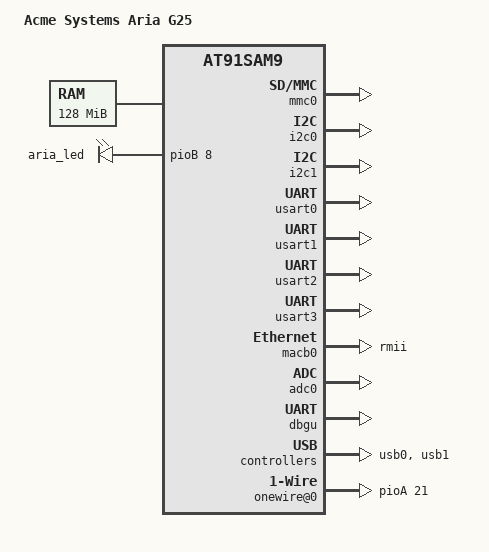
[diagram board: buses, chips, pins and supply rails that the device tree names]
/*
 * acme-aria.dts - Device Tree file for Aria G25
 *
 */
 
/dts-v1/;
#include "at91sam9g25.dtsi"

/ {
	model = "Acme Systems Aria G25";
	compatible = "acme,ariettag25", "atmel,at91sam9x5", "atmel,at91sam9";

	aliases {
		serial0 = &dbgu;
	};

	chosen {
		stdout-path = "serial0:115200n8";
		bootargs = "mem=128M console=ttyS0,115200 root=/dev/mmcblk0p2 rootfstype=ext4 rw rootwait";
	};

	memory {
		reg = <0x20000000 0x8000000>;
	};

	clocks {
		slow_xtal {
			clock-frequency = <32768>;
		};
		main_xtal {
			clock-frequency = <12000000>;
		};
	};

	ahb {
		apb {
			mmc0: mmc@f0008000 {
				pinctrl-0 = <
					&pinctrl_mmc0_slot0_clk_cmd_dat0
					&pinctrl_mmc0_slot0_dat1_3>;
				status = "okay";
				slot@0 {
					reg = <0>;
					bus-width = <4>;
				};
			};

			i2c0: i2c@f8010000 {
				status = "okay";
			};

			i2c1: i2c@f8014000 {
				status = "okay";
			};

			usart0: serial@f801c000 {
				pinctrl-0 = <&pinctrl_usart0
					     &pinctrl_usart0_rts
					     &pinctrl_usart0_cts>;
				status = "okay";
			};

			usart1: serial@f8020000 {
				pinctrl-0 = <&pinctrl_usart1>;
				status = "okay";
			};

			usart2: serial@f8024000 {
				pinctrl-0 = <&pinctrl_usart2>;
				status = "okay";
			};

			usart3: serial@f8028000 {
				compatible = "atmel,at91sam9260-usart";
				reg = <0xf8028000 0x200>;
				interrupts = <8 4 5>;
				pinctrl-names = "default";
				pinctrl-0 = <&pinctrl_usart3>;
				status = "okay";
			};

			macb0: ethernet@f802c000 {
				phy-mode = "rmii";
				local-mac-address = [00 00 00 00 00 00];
				status = "okay";
			};

			uart0: serial@f8040000 {
				status = "disabled";
			};

			uart1: serial@f8044000 {
				status = "disabled";
			};

			adc0: adc@f804c000 {
				status = "okay";
				atmel,adc-channels-used = <0xf>;
			};

			dbgu: serial@fffff200 {
				status = "okay";
			};

			pinctrl@fffff400 {
				w1_0 {
					pinctrl_w1_0: w1_0-0 {
						atmel,pins = <0 21 0x0 0x1>; /* PA21 PIO, pull-up */
					};
				};
			};

			rtc@fffffeb0 {
				status = "okay";
			};
		};

		usb0: ohci@00600000 {
			status = "okay";
			num-ports = <3>;
		};

		usb1: ehci@00700000 {
			status = "okay";
		};
	};

	leds {
		compatible = "gpio-leds";

		/* little green LED in middle of Aria G25 module */
		aria_led {
			label = "aria_led";
			gpios = <&pioB 8 GPIO_ACTIVE_HIGH>; /* PB8 */
			linux,default-trigger = "heartbeat";
		};

	};

	onewire@0 {
		compatible = "w1-gpio";
		gpios = <&pioA 21 GPIO_ACTIVE_LOW>;
		pinctrl-names = "default";
		pinctrl-0 = <&pinctrl_w1_0>;
	};
};
